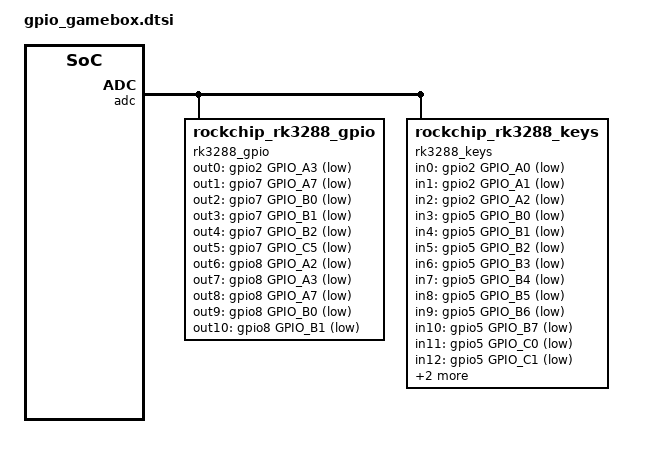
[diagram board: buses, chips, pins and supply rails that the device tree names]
/*
 * Copyright (C) 2014 ROCKCHIP, Inc.
 * arch/arm/boot/dts/gpio_gamebox.dtsi
 * author: shawn_cool@hotmail.com
 * create date: 2017-05-18
 */

&pinctrl {
	gpio2_gpio {
            gpio2_a0: gpio2-a0 {
				rockchip,pins = <GPIO2_A0>;
				rockchip,pull = <VALUE_PULL_DOWN>;
			};
            gpio2_a1: gpio2-a1 {
				rockchip,pins = <GPIO2_A1>;
				rockchip,pull = <VALUE_PULL_DOWN>;
			};
	         gpio2_a2: gpio2-a2 {
				rockchip,pins = <GPIO2_A2>;
				rockchip,pull = <VALUE_PULL_DOWN>;
			};  
            gpio2_a3: gpio2-a3 {
				rockchip,pins = <GPIO2_A3>;
				rockchip,pull = <VALUE_PULL_DOWN>;
			};
	    };

	gpio5_gpio {
            gpio5_b0: gpio2-b0 {
				rockchip,pins = <GPIO5_B0>;
				rockchip,pull = <VALUE_PULL_DOWN>;
			};
            gpio5_b1: gpio2-b1 {
				rockchip,pins = <GPIO5_B1>;
				rockchip,pull = <VALUE_PULL_DOWN>;
			};
	        gpio5_b2: gpio2-b2 {
				rockchip,pins = <GPIO5_B2>;
				rockchip,pull = <VALUE_PULL_DOWN>;
			};  
            gpio5_b3: gpio2-b3 {
				rockchip,pins = <GPIO5_B3>;
				rockchip,pull = <VALUE_PULL_DOWN>;
			};
            gpio5_b4: gpio2-b4 {
				rockchip,pins = <GPIO5_B4>;
				rockchip,pull = <VALUE_PULL_DOWN>;
			};
            gpio5_b5: gpio2-b5 {
				rockchip,pins = <GPIO5_B5>;
				rockchip,pull = <VALUE_PULL_DOWN>;
			};
	        gpio5_b6: gpio2-b6 {
				rockchip,pins = <GPIO5_B6>;
				rockchip,pull = <VALUE_PULL_DOWN>;
			};  
            gpio5_b7: gpio2-b7 {
				rockchip,pins = <GPIO5_B7>;
				rockchip,pull = <VALUE_PULL_DOWN>;
			};
            gpio5_c0: gpio2-c0 {
				rockchip,pins = <GPIO5_C0>;
				rockchip,pull = <VALUE_PULL_DOWN>;
			};
            gpio5_c1: gpio2-c1 {
				rockchip,pins = <GPIO5_C1>;
				rockchip,pull = <VALUE_PULL_DOWN>;
			};
	        gpio5_c2: gpio2-c2 {
				rockchip,pins = <GPIO5_C2>;
				rockchip,pull = <VALUE_PULL_DOWN>;
			};  
            gpio5_c3: gpio2-c3 {
				rockchip,pins = <GPIO5_C3>;
				rockchip,pull = <VALUE_PULL_DOWN>;
			};
	    };


	gpio7_gpio {
			gpio7_a7: gpio7-a7 {
				rockchip,pins = <GPIO7_A7>;
				rockchip,pull = <VALUE_PULL_DOWN>;
			};
			gpio7_b0: gpio7-b0 {
				rockchip,pins = <GPIO7_B0>;
				rockchip,pull = <VALUE_PULL_DOWN>;
			};		
			gpio7_b1: gpio7-b1 {
				rockchip,pins = <GPIO7_B1>;
				rockchip,pull = <VALUE_PULL_DOWN>;
			};
			gpio7_b2: gpio7-b2 {
				rockchip,pins = <GPIO7_B2>;
				rockchip,pull = <VALUE_PULL_DOWN>;
			};
            /*gpio7_c5: gpio7-c5 {
				rockchip,pins = <GPIO7_C5>;
				rockchip,pull = <VALUE_PULL_DOWN>;
			};*/

		};
    gpio8_gpio {
			/*gpio8_a2: gpio8-a2 {
				rockchip,pins = <GPIO7_A2>;
				rockchip,pull = <VALUE_PULL_DOWN>;
			};*/
			gpio8_a3: gpio8-a3 {
				rockchip,pins = <GPIO8_A3>;
				rockchip,pull = <VALUE_PULL_DOWN>;
			};		
			gpio8_a7: gpio8-a7 {
				rockchip,pins = <GPIO8_A7>;
				rockchip,pull = <VALUE_PULL_DOWN>;
			};
			gpio8_b0: gpio8-b0 {
				rockchip,pins = <GPIO8_B0>;
				rockchip,pull = <VALUE_PULL_DOWN>;
			};
        	gpio8_b1: gpio7-b1 {
				rockchip,pins = <GPIO8_B1>;
				rockchip,pull = <VALUE_PULL_DOWN>;
			};
		};
};

&adc {
	status = "okay";
	rk3288_gpio {
		compatible = "rockchip_rk3288_gpio";
        gpio-out0 = <&gpio2 GPIO_A3 GPIO_ACTIVE_LOW>;
        gpio-out1 = <&gpio7 GPIO_A7 GPIO_ACTIVE_LOW>;
        gpio-out2 = <&gpio7 GPIO_B0 GPIO_ACTIVE_LOW>;
        gpio-out3 = <&gpio7 GPIO_B1 GPIO_ACTIVE_LOW>;
        gpio-out4 = <&gpio7 GPIO_B2 GPIO_ACTIVE_LOW>;
        gpio-out5 = <&gpio7 GPIO_C5 GPIO_ACTIVE_LOW>;//conflict
        gpio-out6 = <&gpio8 GPIO_A2 GPIO_ACTIVE_LOW>;//conflict
        gpio-out7 = <&gpio8 GPIO_A3 GPIO_ACTIVE_LOW>;
        gpio-out8 = <&gpio8 GPIO_A7 GPIO_ACTIVE_LOW>;
        gpio-out9 = <&gpio8 GPIO_B0 GPIO_ACTIVE_LOW>;
        gpio-out10 = <&gpio8 GPIO_B1 GPIO_ACTIVE_LOW>;
	};

  rk3288_keys{
		compatible = "rockchip_rk3288_keys";
        gpio-in0 = <&gpio2 GPIO_A0 GPIO_ACTIVE_LOW>;
        gpio-in1 = <&gpio2 GPIO_A1 GPIO_ACTIVE_LOW>;
        gpio-in2 = <&gpio2 GPIO_A2 GPIO_ACTIVE_LOW>;
        gpio-in3 = <&gpio5 GPIO_B0 GPIO_ACTIVE_LOW>;
        gpio-in4 = <&gpio5 GPIO_B1 GPIO_ACTIVE_LOW>;
        gpio-in5 = <&gpio5 GPIO_B2 GPIO_ACTIVE_LOW>;
        gpio-in6 = <&gpio5 GPIO_B3 GPIO_ACTIVE_LOW>;
        gpio-in7 = <&gpio5 GPIO_B4 GPIO_ACTIVE_LOW>;
        gpio-in8 = <&gpio5 GPIO_B5 GPIO_ACTIVE_LOW>;
        gpio-in9 = <&gpio5 GPIO_B6 GPIO_ACTIVE_LOW>;
        gpio-in10 = <&gpio5 GPIO_B7 GPIO_ACTIVE_LOW>;
        gpio-in11 = <&gpio5 GPIO_C0 GPIO_ACTIVE_LOW>;
        gpio-in12 = <&gpio5 GPIO_C1 GPIO_ACTIVE_LOW>;
        gpio-in13 = <&gpio5 GPIO_C2 GPIO_ACTIVE_LOW>;
        gpio-in14 = <&gpio5 GPIO_C3 GPIO_ACTIVE_LOW>;
  };
};
